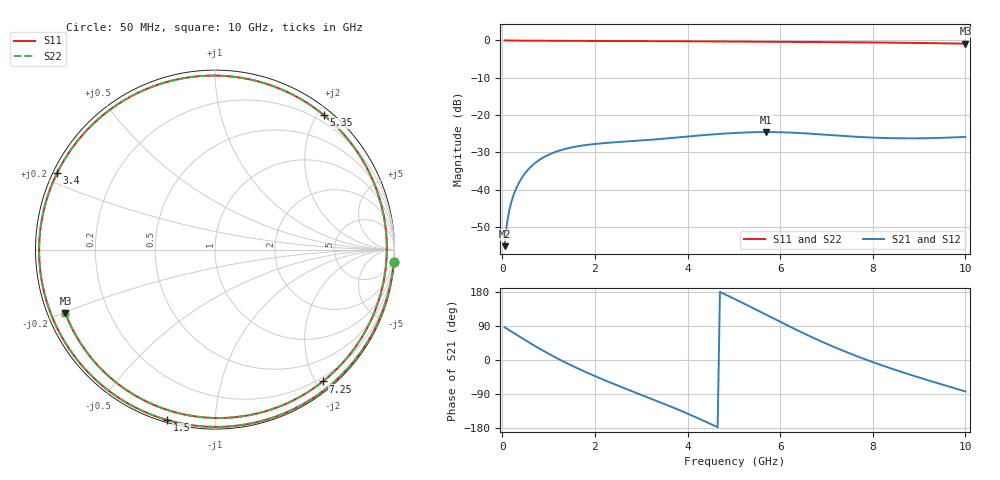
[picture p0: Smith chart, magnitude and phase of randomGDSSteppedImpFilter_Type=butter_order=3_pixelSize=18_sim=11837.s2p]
! freq	dB(S11)	phase(S11)	dB(S12)	phase(S12)
!  dB(S21)	phase(S21)	dB(S22)	phase(S22)
!S-par simulation data
#  GHz  S  DB  R 50
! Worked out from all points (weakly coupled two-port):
!   200 points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, 50 MHz to 10 GHz, reference 50 ohm
!   highest |S21| = -24.54 dB at 5.7 GHz (marker M1); lowest = -55.1 dB at 50 MHz (marker M2)
!   lowest |S11| = -0.9 dB at 10 GHz (marker M3), VSWR 20.24, Z = 2.57 - j10.2 ohm
!   |S11| at or under -10 dB: nowhere
!   |S22| runs from -0.9 to 0.0 dB; largest |S21 - S12| = 0
!   S11 on the Smith chart (normalised r, x): 50 MHz: 0, -29; 1.5 GHz: 0.01, -0.76; 3.4 GHz: 0.01, +0.23; 5.35 GHz: 0.10, +2.10; 7.25 GHz: 0.14, -2.10; 10 GHz: 0.05, -0.20
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0.05  -0.01 -4.0  -55.10 86.3  -55.10 86.3  -0.01 -3.9
0.1  -0.02 -7.8  -49.08 82.5  -49.08 82.5  -0.02 -7.8
0.2  -0.04 -15.5  -43.09 75.0  -43.09 75.0  -0.04 -15.5
0.45  -0.06 -34.4  -36.28 55.9  -36.28 55.9  -0.06 -34.4
0.95  -0.09 -70.2  -30.91 19.9  -30.91 19.9  -0.09 -70.2
1.5  -0.12 -105.6  -28.65 -14.7  -28.65 -14.7  -0.12 -105.6
1.75  -0.13 -120.4  -28.11 -28.9  -28.11 -28.9  -0.13 -120.3
2.15  -0.15 -142.5  -27.55 -50.3  -27.55 -50.3  -0.15 -142.5
2.55  -0.16 -163.4  -27.17 -70.3  -27.17 -70.3  -0.16 -163.3
2.95  -0.18 176.5  -26.84 -89.5  -26.84 -89.5  -0.18 176.6
3.4  -0.19 154.2  -26.41 -111.1  -26.41 -111.1  -0.19 154.2
4.3  -0.25 108.4  -25.40 -157.7  -25.40 -157.7  -0.25 108.4
5.05  -0.30 67.8  -24.76 159.1  -24.76 159.1  -0.30 67.8
5.35  -0.32 50.9  -24.61 140.9  -24.61 140.9  -0.32 51.0
5.7  -0.34 31.2  -24.54 119.3  -24.54 119.3  -0.34 31.3
6.2  -0.37 3.3  -24.67 88.7  -24.67 88.7  -0.37 3.4
6.7  -0.41 -23.4  -25.01 59.4  -25.01 59.4  -0.41 -23.4
7.25  -0.45 -50.7  -25.49 29.9  -25.49 29.9  -0.45 -50.7
7.8  -0.51 -75.6  -25.90 3.4  -25.90 3.4  -0.51 -75.5
8.35  -0.58 -98.1  -26.16 -20.5  -26.16 -20.5  -0.58 -98.1
9.2  -0.71 -129.5  -26.18 -53.7  -26.18 -53.7  -0.71 -129.5
10  -0.86 -157.0  -25.83 -82.9  -25.83 -82.9  -0.86 -157.0
